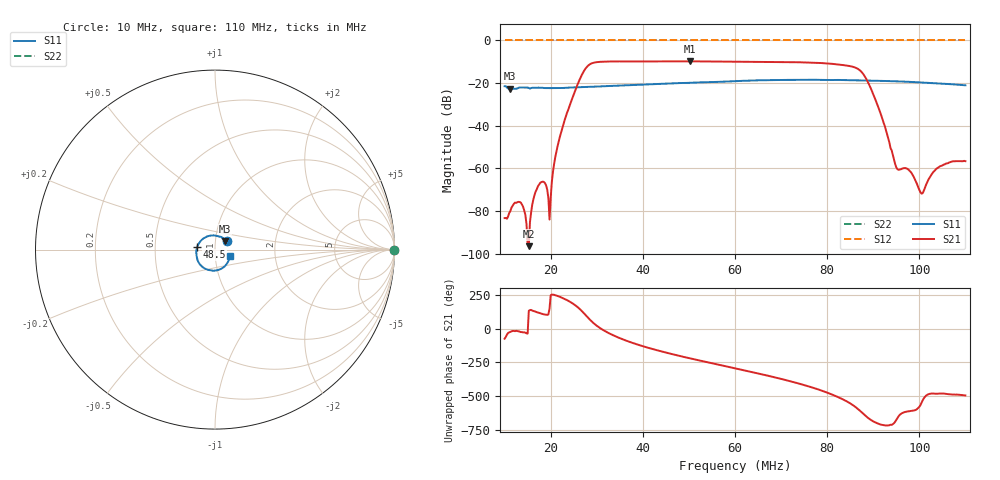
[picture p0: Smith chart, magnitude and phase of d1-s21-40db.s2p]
! Anritsu VNA Master:  Model: MS2034B/10/19/501
! SN:  1337062
! /bd0/ovro-jan-2016/dz1-s21-40db.s2p
! Existing Calibration Information:
! TYPE:  Current Settings,  Active Cal Settings
! TIME:  01/08/2016 03:26:24 PM,  01/08/2016 03:05:41 PM
! INTERNAL TEMP:  41.5 C,  43.3 C
! # POINTS:  401,  401
! START FREQ:  10.000 MHz,  10.000 MHz
! STOP FREQ:  110.000 MHz,  110.000 MHz
! SOURCE POWER:  High,  High
! IFBW:  100 Hz,  100 Hz
! AVG FACTOR:  1 ,  1
! REF PLANE 1:  0 mm,  0 mm
! REF PLANE 2:  0 mm,  0 mm
! CAL TYPE:  1P2P S11,S21,  1P2P S11,S21
! CAL METHOD:  SOLT,  SOLT
! CAL LINE TYPE:  Coax,  Coax
! DUT PORT 1:  K-Conn(M),  K-Conn(M)
! DUT PORT 2:  N-Conn(M),  N-Conn(M)
! CAL STATUS:  OK: Accuracy High,  --
# GHZ S DB R 50.0
! FREQ.GHZ  S11DB  S11A  S21DB  S21A  S12DB  S12A  S22DB  S22A
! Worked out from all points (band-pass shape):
!   401 points, 10 MHz to 110 MHz, reference 50 ohm
!   highest |S21| = -9.80 dB at 50.25 MHz (marker M1); lowest = -96.5 dB at 15.25 MHz (marker M2)
!   |S21| within 3 dB of the highest: 27.7 MHz to 86.19 MHz (58.5 MHz wide, 103 % of centre)
!   lowest |S11| = -22.7 dB at 11.25 MHz (marker M3), VSWR 1.16, Z = 55.6 + j5.4 ohm
!   |S11| at or under -10 dB: start of sweep to end of sweep
!   |S22| runs from 0.0 to 0.0 dB; largest |S21 - S12| = 1.3
!   S11 on the Smith chart (normalised r, x): 10 MHz: 1.14, +0.12; 48.5 MHz: 0.82, +0.02; 110 MHz: 1.17, -0.08
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0.01  -21.44 36.6  -83.28 -75.1  0.00 0.0  0.00 0.0
0.01125  -22.68 41.2  -79.99 -24.2  0.00 0.0  0.00 0.0
0.01525  -22.21 55.8  -96.46 130.7  0.00 0.0  0.00 0.0
0.01775  -22.12 65.4  -66.71 112.3  0.00 0.0  0.00 0.0
0.01975  -22.34 73.3  -83.96 147.7  0.00 0.0  0.00 0.0
0.02225  -22.28 82.9  -43.19 -129.7  0.00 0.0  0.00 0.0
0.02675  -21.87 99.9  -16.17 129.5  0.00 0.0  0.00 0.0
0.03125  -21.50 116.0  -9.97 -8.2  0.00 0.0  0.00 0.0
0.03625  -21.04 133.0  -9.83 -87.7  0.00 0.0  0.00 0.0
0.0435  -20.40 156.2  -9.82 -164.0  0.00 0.0  0.00 0.0
0.0485  -19.95 171.6  -9.82 153.6  0.00 0.0  0.00 0.0
0.05025  -19.84 176.9  -9.80 140.0  0.00 0.0  0.00 0.0
0.06  -19.10 -154.8  -9.94 66.5  0.00 0.0  0.00 0.0
0.07675  -18.45 -112.6  -10.39 -74.8  0.00 0.0  0.00 0.0
0.0835  -18.52 -95.6  -11.56 -164.1  0.00 0.0  0.00 0.0
0.08725  -18.72 -85.9  -14.30 109.4  0.00 0.0  0.00 0.0
0.0935  -19.06 -69.2  -47.81 6.8  0.00 0.0  0.00 0.0
0.09525  -19.18 -64.6  -60.38 60.2  0.00 0.0  0.00 0.0
0.09775  -19.45 -57.9  -60.78 109.4  0.00 0.0  0.00 0.0
0.1005  -19.72 -50.6  -71.84 173.4  0.00 0.0  0.00 0.0
0.104  -20.12 -41.1  -59.77 -120.7  0.00 0.0  0.00 0.0
0.11  -21.02 -23.7  -56.60 -133.6  0.00 0.0  0.00 0.0
